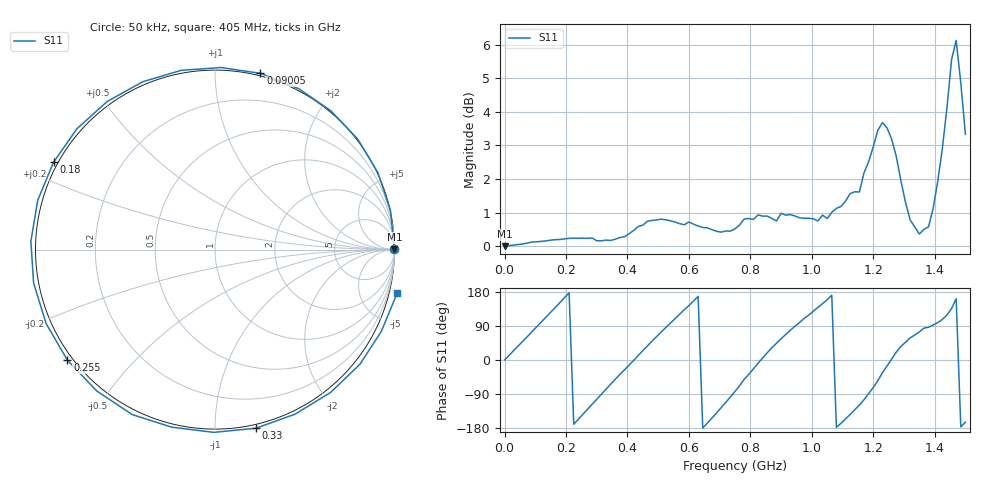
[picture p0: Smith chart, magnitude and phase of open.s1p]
! Created with skrf 1.8.0 (http://scikit-rf.org).
# Hz S RI R 50.0
!freq ReS11 ImS11
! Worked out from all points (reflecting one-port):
!   101 points, 50 kHz to 1.5 GHz, reference 50 ohm
!   lowest |S11| = 0.0 dB at 50 kHz (marker M1)
!   phase of S11 starts at 0 deg and turns +1276 deg over the sweep
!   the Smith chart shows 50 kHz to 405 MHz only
!   S11 on the Smith chart (normalised r, x): 50 kHz: open; 90.05 MHz: -0.02, +1.29; 180 MHz: -0.01, +0.25; 255 MHz: -0.02, -0.33; 330 MHz: -0.03, -1.26; 405 MHz: -1.48, -8.17
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50000  0.9998 0.00145
9.0047e7  0.253 0.982
1.80044e8  -0.8998 0.4866
1.950435e8  -0.9877 0.2748
2.550415e8  -0.822 -0.6167
3.30039e8  0.2285 -0.995
3.750375e8  0.807 -0.6394
4.050365e8  1.014 -0.2439
4.50035e8  0.9762 0.4488
4.950335e8  0.5154 0.9649
5.70031e8  -0.555 0.9263
6.60028e8  -1.035 -0.2478
7.50025e8  0.1304 -1.053
7.950235e8  0.8678 -0.6742
8.40022e8  1.103 0.1037
9.0002e8  0.622 0.9305
9.450185e8  0.02 1.109
1.035016e9  -0.9513 0.5764
1.125012e9  -0.9628 -0.7117
1.20001e9  0.4189 -1.342
1.245008e9  1.443 -0.4094
1.275008e9  1.272 0.4823
1.320006e9  0.575 0.9312
1.410003e9  -0.187 1.234
1.455002e9  -1.356 1.324
1.470001e9  -1.922 0.6366
1.485e9  -1.748 -0.1094
1.5e9  -1.411 -0.4035
